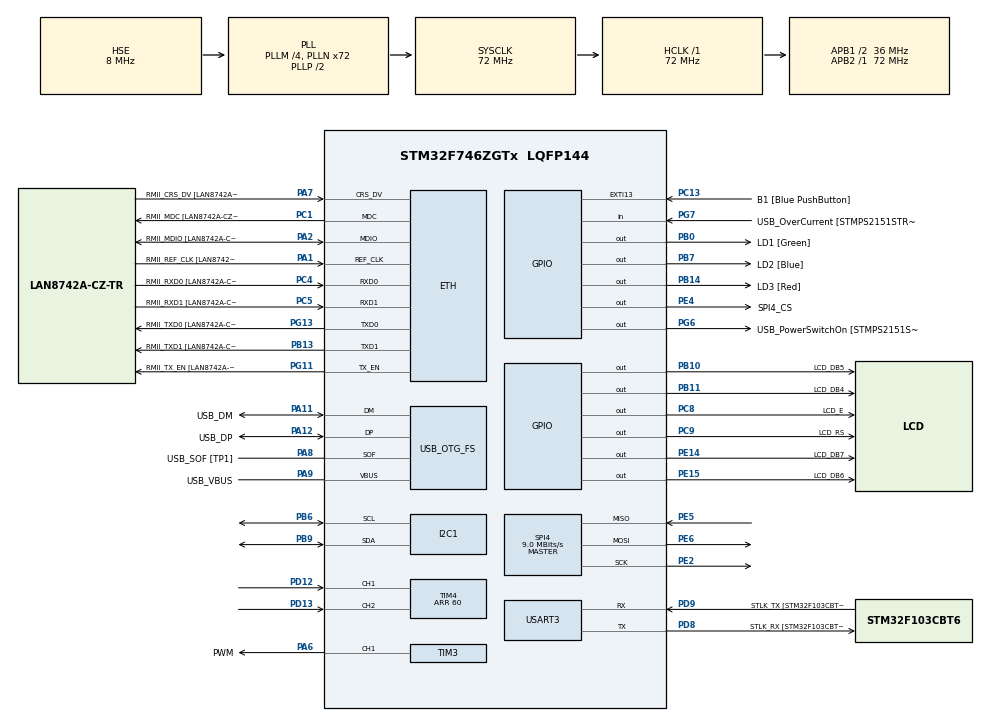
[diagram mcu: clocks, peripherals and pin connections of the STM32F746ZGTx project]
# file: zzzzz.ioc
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ARM.CMSIS.5.7.0.CMSISJjCORE=true
ARM.CMSIS.5.7.0.CMSISJjDSP=Library
ETH.MediaInterface=HAL_ETH_RMII_MODE
ETH.PHY_Name=LAN8742A_PHY_ADDRESS
ETH.PHY_Value=0
ETH.PhyAddress=0
I2C1.Timing=0x00808CD2
Mcu.Family=STM32F7
Mcu.Name=STM32F746ZGTx
Mcu.Package=LQFP144
NVIC.PriorityGroup=NVIC_PRIORITYGROUP_4
NVIC.TIM1_BRK_TIM9_IRQn=true\:0\:0\:false\:false\:true\:true\:true\:true
NVIC.TIM1_CC_IRQn=true\:0\:0\:false\:false\:true\:true\:true\:true
NVIC.TIM1_TRG_COM_TIM11_IRQn=true\:0\:0\:false\:false\:true\:true\:true\:true
NVIC.TIM1_UP_TIM10_IRQn=true\:0\:0\:false\:false\:true\:true\:true\:true
NVIC.TIM2_IRQn=true\:0\:0\:false\:false\:true\:true\:true\:true
NVIC.TIM3_IRQn=true\:0\:0\:false\:false\:true\:true\:true\:true
NVIC.TIM4_IRQn=true\:0\:0\:false\:false\:true\:true\:true\:true
NVIC.TIM6_DAC_IRQn=true\:0\:0\:false\:false\:true\:true\:true\:true
NVIC.USART3_IRQn=true\:0\:0\:false\:false\:true\:true\:true\:true
PA1.GPIO_Label=RMII_REF_CLK [LAN8742A-CZ-TR_REFCLK0]
PA1.Mode=RMII
PA1.Signal=ETH_REF_CLK
PA10.GPIO_Label=USB_ID
PA10.Signal=USB_OTG_FS_ID
PA11.GPIO_Label=USB_DM
PA11.Mode=Device_Only
PA11.Signal=USB_OTG_FS_DM
PA12.GPIO_Label=USB_DP
PA12.Mode=Device_Only
PA12.Signal=USB_OTG_FS_DP
PA13.GPIO_Label=TMS
PA13.Mode=Serial_Wire
PA13.Signal=SYS_JTMS-SWDIO
PA14.GPIO_Label=TCK
PA14.Mode=Serial_Wire
PA14.Signal=SYS_JTCK-SWCLK
PA2.GPIO_Label=RMII_MDIO [LAN8742A-CZ-TR_MDIO]
PA2.Mode=RMII
PA2.Signal=ETH_MDIO
PA6.GPIO_Label=PWM
PA6.Signal=S_TIM3_CH1
PA7.GPIO_Label=RMII_CRS_DV [LAN8742A-CZ-TR_CRS_DV]
PA7.Mode=RMII
PA7.Signal=ETH_CRS_DV
PA8.GPIO_Label=USB_SOF [TP1]
PA8.Mode=Activate_SOF_FS
PA8.Signal=USB_OTG_FS_SOF
PA9.GPIO_Label=USB_VBUS
PA9.Mode=Activate_VBUS
PA9.Signal=USB_OTG_FS_VBUS
PB0.GPIO_Label=LD1 [Green]
PB0.Signal=GPIO_Output
PB10.GPIO_Label=LCD_DB5
PB10.Signal=GPIO_Output
PB11.GPIO_Label=LCD_DB4
PB11.Signal=GPIO_Output
PB13.GPIO_Label=RMII_TXD1 [LAN8742A-CZ-TR_TXD1]
PB13.Mode=RMII
PB13.Signal=ETH_TXD1
PB14.GPIO_Label=LD3 [Red]
PB14.Signal=GPIO_Output
PB3.GPIO_Label=SW0
PB3.Signal=SYS_JTDO-SWO
PB6.Mode=I2C
PB6.Signal=I2C1_SCL
PB7.GPIO_Label=LD2 [Blue]
PB7.Signal=GPIO_Output
PB9.Mode=I2C
PB9.Signal=I2C1_SDA
PC1.GPIO_Label=RMII_MDC [LAN8742A-CZ-TR_MDC]
PC1.Mode=RMII
PC1.Signal=ETH_MDC
PC13.GPIO_Label=B1 [Blue PushButton]
PC13.Signal=GPXTI13
PC14/OSC32_IN.Mode=LSE-External-Oscillator
PC14/OSC32_IN.Signal=RCC_OSC32_IN
PC15/OSC32_OUT.Mode=LSE-External-Oscillator
PC15/OSC32_OUT.Signal=RCC_OSC32_OUT
PC4.GPIO_Label=RMII_RXD0 [LAN8742A-CZ-TR_RXD0]
PC4.Mode=RMII
PC4.Signal=ETH_RXD0
PC5.GPIO_Label=RMII_RXD1 [LAN8742A-CZ-TR_RXD1]
PC5.Mode=RMII
PC5.Signal=ETH_RXD1
PC8.GPIO_Label=LCD_E
PC8.Signal=GPIO_Output
PC9.GPIO_Label=LCD_RS
PC9.Signal=GPIO_Output
PD12.Signal=S_TIM4_CH1
PD13.Signal=S_TIM4_CH2
PD8.GPIO_Label=STLK_RX [STM32F103CBT6_PA3]
PD8.GPIO_PuPd=GPIO_PULLUP
PD8.Mode=Asynchronous
PD8.Signal=USART3_TX
PD9.GPIO_Label=STLK_TX [STM32F103CBT6_PA2]
PD9.GPIO_PuPd=GPIO_PULLUP
PD9.Mode=Asynchronous
PD9.Signal=USART3_RX
PE14.GPIO_Label=LCD_DB7
PE14.Signal=GPIO_Output
PE15.GPIO_Label=LCD_DB6
PE15.Signal=GPIO_Output
PE2.Mode=Full_Duplex_Master
PE2.Signal=SPI4_SCK
PE4.GPIO_Label=SPI4_CS
PE4.GPIO_Speed=GPIO_SPEED_FREQ_VERY_HIGH
PE4.Signal=GPIO_Output
PE5.Mode=Full_Duplex_Master
PE5.Signal=SPI4_MISO
PE6.Mode=Full_Duplex_Master
PE6.Signal=SPI4_MOSI
PG11.GPIO_Label=RMII_TX_EN [LAN8742A-CZ-TR_TXEN]
PG11.Mode=RMII
PG11.Signal=ETH_TX_EN
PG13.GPIO_Label=RMII_TXD0 [LAN8742A-CZ-TR_TXD0]
PG13.Mode=RMII
PG13.Signal=ETH_TXD0
PG6.GPIO_Label=USB_PowerSwitchOn [STMPS2151STR_EN]
PG6.Signal=GPIO_Output
PG7.GPIO_Label=USB_OverCurrent [STMPS2151STR_FAULT]
PG7.Signal=GPIO_Input
PH0/OSC_IN.GPIO_Label=MCO [STM32F103CBT6_PA8]
PH0/OSC_IN.Mode=HSE-External-Clock-Source
PH0/OSC_IN.Signal=RCC_OSC_IN
PH1/OSC_OUT.Mode=HSE-External-Clock-Source
PH1/OSC_OUT.Signal=RCC_OSC_OUT
ProjectManager.HeapSize=0x200
ProjectManager.StackSize=0x400
ProjectManager.TargetToolchain=STM32CubeIDE
RCC.48MHZClocksFreq_Value=24000000
RCC.AHBFreq_Value=72000000
RCC.APB1CLKDivider=RCC_HCLK_DIV2
RCC.APB1Freq_Value=36000000
RCC.APB1TimFreq_Value=72000000
RCC.APB2Freq_Value=72000000
RCC.APB2TimFreq_Value=72000000
RCC.CortexFreq_Value=72000000
RCC.HCLKFreq_Value=72000000
RCC.HSE_VALUE=8000000
RCC.HSI_VALUE=16000000
RCC.PLLM=4
RCC.PLLMUL=RCC_PLL_MUL9
RCC.PLLN=72
RCC.PLLQ=3
RCC.PRESCALERUSB=RCC_USBCLKSOURCE_PLL_DIV1_5
RCC.SYSCLKFreq_VALUE=72000000
RCC.SYSCLKSource=RCC_SYSCLKSOURCE_PLLCLK
RCC.SYSCLKSourceVirtual=RCC_SYSCLKSOURCE_PLLCLK
RCC.USBFreq_Value=48000000
RCC.VCOOutputFreq_Value=144000000
SH.S_TIM3_CH1.0=TIM3_CH1,PWM Generation1 CH1
SH.S_TIM4_CH1.0=TIM4_CH1,Encoder_Interface
SH.S_TIM4_CH2.0=TIM4_CH2,Encoder_Interface
SPI4.BaudRatePrescaler=SPI_BAUDRATEPRESCALER_8
SPI4.CLKPhase=SPI_PHASE_2EDGE
SPI4.CLKPolarity=SPI_POLARITY_HIGH
SPI4.CalculateBaudRate=9.0 MBits/s
SPI4.DataSize=SPI_DATASIZE_8BIT
SPI4.Direction=SPI_DIRECTION_2LINES
SPI4.Mode=SPI_MODE_MASTER
SPI4.VirtualType=VM_MASTER
TIM1.AutoReloadPreload=TIM_AUTORELOAD_PRELOAD_DISABLE
TIM1.Period=24999
TIM1.Prescaler=2879
TIM2.Period=49999
TIM2.Prescaler=2879
TIM3.AutoReloadPreload=TIM_AUTORELOAD_PRELOAD_DISABLE
TIM3.Channel-PWM\ Generation1\ CH1=TIM_CHANNEL_1
TIM3.Period=999
TIM3.Prescaler=71
TIM3.Pulse-PWM\ Generation1\ CH1=999
TIM4.EncoderMode=TIM_ENCODERMODE_TI12
TIM4.IC1Filter=9
TIM4.IC2Filter=9
TIM4.Period=60
TIM6.Period=24999
TIM6.Prescaler=2879
USART3.VirtualMode-Asynchronous=VM_ASYNC
USB_OTG_FS.VirtualMode=Device_Only
VP_ARM.CMSIS_VS_CMSISJjCORE_5.4.0_5.7.0.Mode=CMSISJjCORE
VP_ARM.CMSIS_VS_CMSISJjDSP_1.8.0_5.7.0.Mode=CMSISJjDSP
VP_TIM1_VS_ClockSourceINT.Mode=Internal
VP_TIM2_VS_ClockSourceINT.Mode=Internal
VP_TIM3_VS_ClockSourceINT.Mode=Internal
VP_TIM6_VS_ClockSourceINT.Mode=Enable_Timer
board=NUCLEO-F746ZG

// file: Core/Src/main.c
/* USER CODE BEGIN Header */
/**
  ******************************************************************************
  * @file           : main.c
  * @brief          : Main program body
  ******************************************************************************
  * @attention
  *
  * <h2><center>&copy; Copyright (c) 2019 STMicroelectronics.
  * All rights reserved.</center></h2>
  *
  * This software component is licensed by ST under BSD 3-Clause license,
  * the "License"; You may not use this file except in compliance with the
  * License. You may obtain a copy of the License at:
  *                        opensource.org/licenses/BSD-3-Clause
  *
  ******************************************************************************
  */
/* USER CODE END Header */
#include "main.h"
#include "eth.h"
#include "i2c.h"
#include "spi.h"
#include "tim.h"
#include "usart.h"
#include "usb_otg.h"
#include "gpio.h"

/* USER CODE BEGIN Includes */
#include "bmp280.h"
#include "bmp280_defs.h"
#include <string.h>
#include <stdio.h>
#include <stdlib.h>
#include "arm_math.h"
#include "LCD.h"
/* USER CODE END Includes */

/* USER CODE BEGIN PD */
#define SPI_BUFFER_LEN 28
#define BMP280_DATA_INDEX 1
#define BMP280_ADDRESS_INDEX 2

/* PID parameters */
#define PID_PARAM_KP        350            /* Proporcional */
#define PID_PARAM_KI        0        /* Integral */
#define PID_PARAM_KD        0            /* Derivative */

/* USER CODE END PD */

/* USER CODE BEGIN PV */
float current_temp;           /* Aktualna temperatura */
float target_temp;              /* Zadana temperatura */
float e;             			/* Błąd */
int czy_ustawiono =0;
int target_temp_int, current_temp_int;
arm_pid_instance_f32 PID;     /* PID*/
float duty = 0;          /* PWM */
uint32_t p_env;
uint32_t env;
/* Komunikacja z UART */
uint8_t want_uart;
int flag = 0;
char data[3];
uint8_t msg[3];
uint16_t Sizemsg = 3;
int8_t rslt;
struct bmp280_dev bmp;
struct bmp280_config conf;
struct bmp280_uncomp_data ucomp_data;
/* Parametry do wysłania temperatury */
double temp;
char buffer[128];
uint8_t size;
/* USER CODE END PV */

void SystemClock_Config(void);
/* USER CODE BEGIN PFP */
/* Odczytywanie danych z czujnika */
int8_t spi_reg_read(uint8_t cs, uint8_t reg_addr , uint8_t *reg_data , uint16_t length)
{
  HAL_StatusTypeDef status = HAL_OK;
  int32_t iError = BMP280_OK;
  uint8_t txarray[SPI_BUFFER_LEN] = {0,};
  uint8_t rxarray[SPI_BUFFER_LEN] = {0,};
  uint8_t stringpos;
 txarray[0] = reg_addr;
 HAL_GPIO_WritePin( SPI4_CS_GPIO_Port , SPI4_CS_Pin , GPIO_PIN_RESET );
 status = HAL_SPI_TransmitReceive( &hspi4 , (uint8_t*)(&txarray), (uint8_t*)(&rxarray), length+1, 5);
 while( hspi4.State == HAL_SPI_STATE_BUSY ) {};
 HAL_GPIO_WritePin( SPI4_CS_GPIO_Port , SPI4_CS_Pin , GPIO_PIN_SET );
 for (stringpos = 0; stringpos < length; stringpos++)
 {
	 *(reg_data + stringpos) = rxarray[stringpos + BMP280_DATA_INDEX];
 }
 if (status != HAL_OK)
 {
	 iError = (-1);
 }
 return (int8_t)iError;
}
int8_t spi_reg_write(uint8_t cs, uint8_t reg_addr , uint8_t *reg_data , uint16_t length)
{
HAL_StatusTypeDef status = HAL_OK;
int32_t iError = BMP280_OK;
uint8_t txarray[SPI_BUFFER_LEN * BMP280_ADDRESS_INDEX];
uint8_t stringpos;
txarray[0] = reg_addr;
for (stringpos = 0; stringpos < length; stringpos++)
{
	txarray[stringpos+BMP280_DATA_INDEX] = reg_data[stringpos];
}
 HAL_GPIO_WritePin( SPI4_CS_GPIO_Port , SPI4_CS_Pin , GPIO_PIN_RESET );
 status = HAL_SPI_Transmit( &hspi4 , (uint8_t*)(&txarray), length*2, 100);
 while( hspi4.State == HAL_SPI_STATE_BUSY ) {};
 HAL_GPIO_WritePin( SPI4_CS_GPIO_Port , SPI4_CS_Pin , GPIO_PIN_SET );
if (status != HAL_OK)
{  iError = (-1);

}
return (int8_t)iError;
}
/**
 * @brief This function sets the desired temperature by encoder.
 * @param[in] Desired temperature.
 * @return [out] Desired temperature.
 */
/*float enkoder(float desired_temp){
env  = __HAL_TIM_GET_COUNTER(&htim4);
	if(env != p_env)
	{
		if(env > p_env - 1)
		{
			desired_temp += 0.5;
			flag=1;
		}
		else if(env < p_env + 1)
		{
			desired_temp -= 0.5;
			flag=1;
		}

		if(desired_temp > 30.0)
		{
			desired_temp = 30.0;

		}
		else if(desired_temp < 24.0)
		{
			desired_temp = 24.0;
		}

		LCD_goto_line(1);
		LCD_printf("Set:%f[C]", desired_temp);

		p_env = env;
	}
	return desired_temp;
}*/
void HAL_TIM_PeriodElapsedCallback(TIM_HandleTypeDef *htim)
{ if(htim==&htim2){

	  rslt = bmp280_get_uncomp_data(&ucomp_data, &bmp);

	   /* Zkompensowana temperatura jako liczba zmiennoprzecinkowa */
	  rslt = bmp280_get_comp_temp_double(&temp, ucomp_data.uncomp_temp, &bmp);
	  current_temp = temp;
	  /* Flaga jeśli nie określono temperatury */
	   if(flag == 0){
	 	  target_temp = current_temp;
	   }
	  /* Uchyb */
		  e = target_temp - current_temp;
		  /* Sprawdzanie czy jest overflow w % */
		  duty = arm_pid_f32(&PID, target_temp - current_temp);
		  	    if (duty > 100) {
		  	        duty = 100;
		  	     } else if (duty < -100) {
		  	        duty = -100;
		  	     }

		  /* Cykl PWM dla włączenia i wyłączenia grzałki */
		  	     if(target_temp > current_temp){
		  	       __HAL_TIM_SET_COMPARE(&htim3, TIM_CHANNEL_1, 10*duty);
		  	       __HAL_TIM_SET_COMPARE(&htim3, TIM_CHANNEL_2, 0*duty);
		  	     }
		  	     else if(target_temp < current_temp){
		  	   	__HAL_TIM_SET_COMPARE(&htim3, TIM_CHANNEL_1, 0*duty);
		  	   	__HAL_TIM_SET_COMPARE(&htim3, TIM_CHANNEL_2, -10*duty);
		  	    }

	  /* Wysyłanie temperatury za pomocą UART */
	  size = sprintf(buffer, "\"Temp\":%f[C],\"Uchyb\":%f,\"Moc PWM\":%f, \"Set\":%f[C]\n\r", current_temp,e,duty,target_temp);
	  HAL_UART_Transmit(&huart3, (uint8_t*)buffer, size, 1000);

}

}
/* USER CODE END PFP */

int main(void)
{
  /* USER CODE BEGIN 1 */
		PID.Kp = PID_PARAM_KP;        /* Proporcional */
		PID.Ki = PID_PARAM_KI;        /* Integral */
		PID.Kd = PID_PARAM_KD;        /* Derivative */

  /* USER CODE END 1 */

  /* MCU Configuration--------------------------------------------------------*/

  /* Reset of all peripherals, Initializes the Flash interface and the Systick. */
  HAL_Init();

  /* Configure the system clock */
  SystemClock_Config();

  /* Initialize all configured peripherals */
  MX_GPIO_Init();
  MX_ETH_Init();
  MX_USART3_UART_Init();
  MX_USB_OTG_FS_PCD_Init();
  MX_SPI4_Init();
  MX_TIM3_Init();
  MX_TIM1_Init();
  MX_TIM4_Init();
  MX_I2C1_Init();
  MX_TIM2_Init();
  MX_TIM6_Init();
  /* USER CODE BEGIN 2 */
  /* Init BMP280 */
  bmp.delay_ms = HAL_Delay;
  bmp.dev_id = 0;
  bmp.intf = BMP280_SPI_INTF;
  bmp.read = spi_reg_read;
  bmp.write = spi_reg_write;
  rslt = bmp280_init(&bmp);
  rslt = bmp280_get_config(&conf, &bmp);
  conf.filter = BMP280_FILTER_COEFF_2;
  conf.os_temp = BMP280_OS_4X;
  conf.odr = BMP280_ODR_1000_MS;
  rslt = bmp280_set_config(&conf, &bmp);
  rslt = bmp280_set_power_mode(BMP280_NORMAL_MODE, &bmp);
  arm_pid_init_f32(&PID, 1);	/* Inicjalizacja PID*/
  HAL_TIM_PWM_Start(&htim3, TIM_CHANNEL_1); /* PWM grzałki */
  HAL_TIM_Encoder_Start(&htim4, TIM_CHANNEL_ALL);
  HAL_UART_Receive_IT(&huart3, msg, Sizemsg); /* UART */
  HAL_TIM_Base_Start_IT(&htim3);
  LCD_init(); /* Ekran LCD */
 // HAL_NVIC_SetPriority(USART3_IRQn, 5, 0);
  //HAL_NVIC_SetPriority(TIM3_IRQn, 6, 0);
  //HAL_NVIC_SetPriority(TIM2_IRQn, 7, 0);
  HAL_TIM_Base_Start_IT(&htim2);
  /* USER CODE END 2 */

  /* Infinite loop */
  /* USER CODE BEGIN WHILE */
  while (1)
  {

	  LCD_goto_line(0);
	  LCD_printf("Temp:%f[C]", current_temp);

  /* Nastawienie temperatury poprzez enkoder */
  env  = __HAL_TIM_GET_COUNTER(&htim4);
  	if(env != p_env)
  	{
  		if(env > p_env - 1)
  		{
  			target_temp += 0.5;
  			flag=1;
  		}
  		else if(env < p_env + 1)
  		{
  			target_temp -= 0.5;
  			flag=1;
  		}

  		if(target_temp > 30.0)
  		{
  			target_temp = 30.0;

  		}
  		else if(target_temp < 24.0)
  		{
  			target_temp = 24.0;
  		}

  		LCD_goto_line(1);
  		LCD_printf("Set:%f[C]", target_temp);

  		p_env = env;
  	}
  	LCD_goto_line(1);
  	LCD_printf("Set:%f[C]", target_temp);
  //target_temp = enkoder(target_temp);
  //LCD_goto_line(1);
//LCD_printf("Set:%f[C]", target_temp);

  //bmp.delay_ms(1500);

    /* USER CODE END WHILE */

  }
}

void SystemClock_Config(void)
{
  RCC_OscInitTypeDef RCC_OscInitStruct = {0};
  RCC_ClkInitTypeDef RCC_ClkInitStruct = {0};

  /** Configure LSE Drive Capability
  */
  HAL_PWR_EnableBkUpAccess();

  /** Configure the main internal regulator output voltage
  */
  __HAL_RCC_PWR_CLK_ENABLE();
  __HAL_PWR_VOLTAGESCALING_CONFIG(PWR_REGULATOR_VOLTAGE_SCALE3);

  /** Initializes the RCC Oscillators according to the specified parameters
  * in the RCC_OscInitTypeDef structure.
  */
  RCC_OscInitStruct.OscillatorType = RCC_OSCILLATORTYPE_HSE;
  RCC_OscInitStruct.HSEState = RCC_HSE_BYPASS;
  RCC_OscInitStruct.PLL.PLLState = RCC_PLL_ON;
  RCC_OscInitStruct.PLL.PLLSource = RCC_PLLSOURCE_HSE;
  RCC_OscInitStruct.PLL.PLLM = 4;
  RCC_OscInitStruct.PLL.PLLN = 72;
  RCC_OscInitStruct.PLL.PLLP = RCC_PLLP_DIV2;
  RCC_OscInitStruct.PLL.PLLQ = 3;
  if (HAL_RCC_OscConfig(&RCC_OscInitStruct) != HAL_OK)
  {
    Error_Handler();
  }

  /** Initializes the CPU, AHB and APB buses clocks
  */
  RCC_ClkInitStruct.ClockType = RCC_CLOCKTYPE_HCLK|RCC_CLOCKTYPE_SYSCLK
                              |RCC_CLOCKTYPE_PCLK1|RCC_CLOCKTYPE_PCLK2;
  RCC_ClkInitStruct.SYSCLKSource = RCC_SYSCLKSOURCE_PLLCLK;
  RCC_ClkInitStruct.AHBCLKDivider = RCC_SYSCLK_DIV1;
  RCC_ClkInitStruct.APB1CLKDivider = RCC_HCLK_DIV2;
  RCC_ClkInitStruct.APB2CLKDivider = RCC_HCLK_DIV1;

  if (HAL_RCC_ClockConfig(&RCC_ClkInitStruct, FLASH_LATENCY_2) != HAL_OK)
  {
    Error_Handler();
  }
}

/* USER CODE BEGIN 4 */
/* Zadanie temperatury przez UART */
void HAL_UART_RxCpltCallback(UART_HandleTypeDef *huart)
{
int poprawna = 0;
/* Sprawdzanie czy podane dane to liczby */
HAL_UART_Receive_IT(&huart3, msg, Sizemsg);
if(msg[0]>47 && msg[0]<58)

{
	int dziesiatki = msg[0] - '0';

	if(msg[1]>47 && msg[1]<58)
	{

		int jednosci = msg[1] - '0';

		if(msg[2]>47 && msg[2]<58)

		{

			int dziesiatne = msg[2] - '0';
			poprawna = 1;
			target_temp = 10.0 * dziesiatki + jednosci + dziesiatne / 10.0;
			flag = 1;
	}
  }
}
/* Jeśli podano niewłaściwy format*/
if(poprawna != 1){
	char buf[20];
	uint8_t err_msg = sprintf(buf, "Zly format\n\r");
	HAL_UART_Transmit(&huart3, (uint8_t*)buf, err_msg, 100);
}
}
/* USER CODE END 4 */

void Error_Handler(void)
{
  /* USER CODE BEGIN Error_Handler_Debug */
  /* User can add his own implementation to report the HAL error return state */
  HAL_GPIO_WritePin(LD1_GPIO_Port, LD1_Pin, GPIO_PIN_RESET);
  HAL_GPIO_WritePin(LD2_GPIO_Port, LD2_Pin, GPIO_PIN_RESET);
  HAL_GPIO_WritePin(LD3_GPIO_Port, LD3_Pin, GPIO_PIN_RESET);
  while(1)
  {
      HAL_GPIO_TogglePin(LD3_GPIO_Port, LD3_Pin);
      HAL_Delay(100);
  }
  /* USER CODE END Error_Handler_Debug */
}
